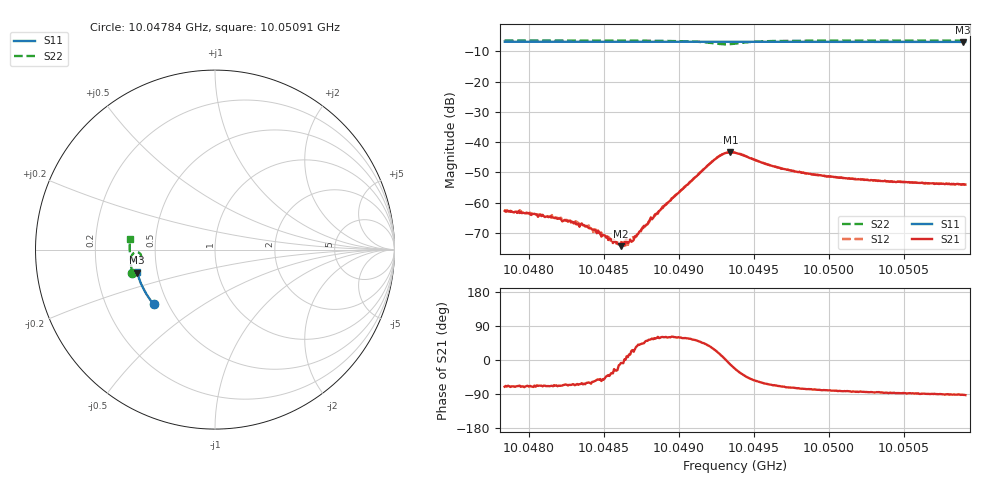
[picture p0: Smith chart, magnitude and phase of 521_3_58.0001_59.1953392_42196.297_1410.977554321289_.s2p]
#  HZ  S  RI  R  50.00
! Rohde & Schwarz Vector Network Analyzer
! Rohde-Schwarz,ZNB20-2Port,1311601062101988,3.16
! Created: UTC 3/21/2024, 1:13:42 AM
! freq[Hz]  re:S11  im:S11  re:S21  im:S21  re:S12  im:S12  re:S22  im:S22
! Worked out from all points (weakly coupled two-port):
!   401 points, 10.04784 GHz to 10.05091 GHz, reference 50 ohm
!   highest |S21| = -43.30 dB at 10.04934 GHz (marker M1); lowest = -74.3 dB at 10.04861 GHz (marker M2)
!   lowest |S11| = -6.9 dB at 10.05089 GHz (marker M3), VSWR 2.65, Z = 19.2 - j6.21 ohm
!   |S11| at or under -10 dB: nowhere
!   |S22| runs from -7.7 to -6.4 dB; largest |S21 - S12| = 0.00047
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1.0047837e10  -0.3412 -0.3047  0.000247 -0.000692  0.000311 -0.000667  -0.4604 -0.1292
1.0047953e10  -0.3459 -0.2988  0.000233 -0.000632  0.000302 -0.000637  -0.4622 -0.1213
1.0048145e10  -0.3539 -0.2891  0.00022 -0.000555  0.000249 -0.000515  -0.465 -0.108
1.0048352e10  -0.3621 -0.2779  0.00022 -0.000399  0.000211 -0.000402  -0.4675 -0.0932
1.0048406e10  -0.3642 -0.2751  0.00019 -0.00033  0.000199 -0.000322  -0.468 -0.0891
1.0048506e10  -0.3679 -0.2697  0.000193 -0.000215  0.000212 -0.000179  -0.469 -0.0815
1.0048544e10  -0.3694 -0.2676  0.000203 -0.00015  0.000202 -0.000124  -0.4692 -0.0785
1.0048613e10  -0.372 -0.2638  0.000191 -2.58e-05  0.000225 -1.91e-05  -0.4696 -0.0731
1.0048659e10  -0.3736 -0.2614  0.000215 2.89e-05  0.000199 3.07e-05  -0.4698 -0.0692
1.0048682e10  -0.3743 -0.2599  0.000208 9.14e-05  0.000234 0.000115  -0.4699 -0.0673
1.0048713e10  -0.3755 -0.2583  0.000233 0.000157  0.000206 0.000177  -0.4699 -0.0648
1.0048828e10  -0.3795 -0.2519  0.000326 0.000462  0.000303 0.00048  -0.4695 -0.0542
1.0048867e10  -0.3809 -0.2497  0.000389 0.000618  0.000354 0.000638  -0.4689 -0.0504
1.0049228e10  -0.3924 -0.2291  0.00428 0.00248  0.00414 0.00274  -0.4305 -0.0147
1.0049289e10  -0.3941 -0.2256  0.00623 0.00104  0.00617 0.00139  -0.414 -0.0274
1.0049343e10  -0.3957 -0.2228  0.00669 -0.00144  0.00677 -0.000981  -0.4131 -0.0479
1.0049374e10  -0.3966 -0.2209  0.00615 -0.00265  0.00635 -0.00224  -0.4199 -0.0573
1.0049673e10  -0.4058 -0.2037  0.00133 -0.0035  0.00156 -0.00344  -0.4682 -0.0394
1.0049888e10  -0.4118 -0.1908  0.000619 -0.00287  0.000787 -0.00287  -0.4738 -0.0183
1.0050403e10  -0.4239 -0.1594  0.000118 -0.00223  0.000274 -0.00223  -0.4754 0.0221
1.0050895e10  -0.4334 -0.1286  -7.02e-05 -0.00204  1.19e-05 -0.00203  -0.4726 0.0563
1.005091e10  -0.4338 -0.1276  -9.01e-05 -0.002  4.61e-05 -0.002  -0.4725 0.0574
